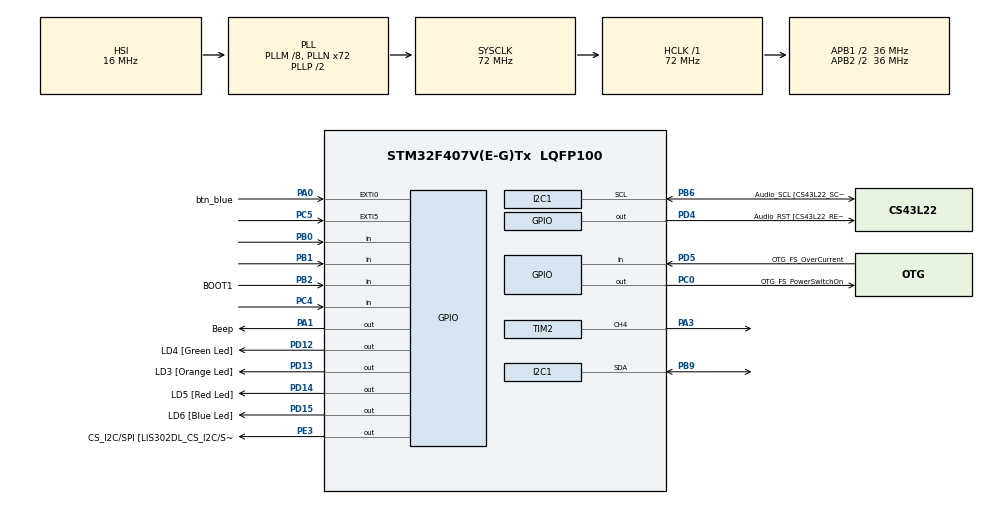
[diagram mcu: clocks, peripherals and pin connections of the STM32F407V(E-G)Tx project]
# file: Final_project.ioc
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Mcu.Family=STM32F4
Mcu.Name=STM32F407V(E-G)Tx
Mcu.Package=LQFP100
NVIC.EXTI9_5_IRQn=true\:0\:0\:false\:false\:true\:true\:true\:true
NVIC.PriorityGroup=NVIC_PRIORITYGROUP_4
NVIC.TIM7_IRQn=true\:15\:0\:false\:false\:true\:false\:true\:true
NVIC.TimeBase=TIM7_IRQn
NVIC.TimeBaseIP=TIM7
PA0-WKUP.GPIO_Label=btn_blue
PA0-WKUP.Signal=GPXTI0
PA1.GPIO_Label=Beep
PA1.PinState=GPIO_PIN_SET
PA1.Signal=GPIO_Output
PA10.GPIO_Label=OTG_FS_ID
PA10.GPIO_Mode=GPIO_MODE_AF_PP
PA10.GPIO_PuPd=GPIO_NOPULL
PA10.GPIO_Speed=GPIO_SPEED_FREQ_LOW
PA10.Signal=USB_OTG_FS_ID
PA11.GPIO_Label=OTG_FS_DM
PA11.GPIO_Mode=GPIO_MODE_AF_PP
PA11.GPIO_PuPd=GPIO_NOPULL
PA11.GPIO_Speed=GPIO_SPEED_FREQ_LOW
PA11.Signal=USB_OTG_FS_DM
PA12.GPIO_Label=OTG_FS_DP
PA12.GPIO_Mode=GPIO_MODE_AF_PP
PA12.GPIO_PuPd=GPIO_NOPULL
PA12.GPIO_Speed=GPIO_SPEED_FREQ_LOW
PA12.Signal=USB_OTG_FS_DP
PA13.GPIO_Label=SWDIO
PA13.Mode=Serial_Wire
PA13.Signal=SYS_JTMS-SWDIO
PA14.GPIO_Label=SWCLK
PA14.Mode=Serial_Wire
PA14.Signal=SYS_JTCK-SWCLK
PA3.Signal=S_TIM2_CH4
PA4.GPIO_Label=I2S3_WS [CS43L22_LRCK]
PA4.GPIO_Mode=GPIO_MODE_AF_PP
PA4.GPIO_PuPd=GPIO_NOPULL
PA4.GPIO_Speed=GPIO_SPEED_FREQ_LOW
PA4.Signal=I2S3_WS
PA5.GPIO_Label=SPI1_SCK [LIS302DL_SCL/SPC]
PA5.GPIO_Mode=GPIO_MODE_AF_PP
PA5.GPIO_PuPd=GPIO_NOPULL
PA5.GPIO_Speed=GPIO_SPEED_FREQ_LOW
PA5.Signal=SPI1_SCK
PA6.GPIO_Label=SPI1_MISO [LIS302DL_SDO]
PA6.GPIO_Mode=GPIO_MODE_AF_PP
PA6.GPIO_PuPd=GPIO_NOPULL
PA6.GPIO_Speed=GPIO_SPEED_FREQ_LOW
PA6.Signal=SPI1_MISO
PA7.GPIO_Label=SPI1_MOSI [LIS302DL_SDA/SDI/SDO]
PA7.GPIO_Mode=GPIO_MODE_AF_PP
PA7.GPIO_PuPd=GPIO_NOPULL
PA7.GPIO_Speed=GPIO_SPEED_FREQ_LOW
PA7.Signal=SPI1_MOSI
PA9.GPIO_Label=VBUS_FS
PA9.GPIO_Mode=GPIO_MODE_INPUT
PA9.GPIO_PuPd=GPIO_NOPULL
PA9.Signal=USB_OTG_FS_VBUS
PB0.Signal=GPIO_Input
PB1.Signal=GPIO_Input
PB10.GPIO_Label=CLK_IN [MP45DT02_CLK]
PB10.GPIO_Mode=GPIO_MODE_AF_PP
PB10.GPIO_PuPd=GPIO_NOPULL
PB10.GPIO_Speed=GPIO_SPEED_FREQ_LOW
PB10.Signal=I2S2_CK
PB2.GPIO_Label=BOOT1
PB2.GPIO_Mode=GPIO_MODE_INPUT
PB2.GPIO_PuPd=GPIO_NOPULL
PB2.Signal=GPIO_Input
PB3.GPIO_Label=SWO
PB3.Signal=SYS_JTDO-SWO
PB6.GPIO_Label=Audio_SCL [CS43L22_SCL]
PB6.GPIO_Mode=GPIO_MODE_AF_OD
PB6.GPIO_PuPd=GPIO_NOPULL
PB6.GPIO_Speed=GPIO_SPEED_FREQ_LOW
PB6.Mode=I2C
PB6.Signal=I2C1_SCL
PB9.Mode=I2C
PB9.Signal=I2C1_SDA
PC0.GPIO_Label=OTG_FS_PowerSwitchOn
PC0.GPIO_PuPd=GPIO_NOPULL
PC0.GPIO_Speed=GPIO_SPEED_FREQ_LOW
PC0.PinState=GPIO_PIN_SET
PC0.Signal=GPIO_Output
PC10.GPIO_Label=I2S3_SCK [CS43L22_SCLK]
PC10.GPIO_Mode=GPIO_MODE_AF_PP
PC10.GPIO_PuPd=GPIO_NOPULL
PC10.GPIO_Speed=GPIO_SPEED_FREQ_LOW
PC10.Signal=I2S3_CK
PC12.GPIO_Label=I2S3_SD [CS43L22_SDIN]
PC12.GPIO_Mode=GPIO_MODE_AF_PP
PC12.GPIO_PuPd=GPIO_NOPULL
PC12.GPIO_Speed=GPIO_SPEED_FREQ_LOW
PC12.Signal=I2S3_SD
PC14-OSC32_IN.GPIO_Label=PC14-OSC32_IN
PC14-OSC32_IN.Signal=RCC_OSC32_IN
PC15-OSC32_OUT.GPIO_Label=PC15-OSC32_OUT
PC15-OSC32_OUT.Signal=RCC_OSC32_OUT
PC3.GPIO_Label=PDM_OUT [MP45DT02_DOUT]
PC3.GPIO_Mode=GPIO_MODE_AF_PP
PC3.GPIO_PuPd=GPIO_NOPULL
PC3.GPIO_Speed=GPIO_SPEED_FREQ_LOW
PC3.Signal=I2S2_SD
PC4.Signal=GPIO_Input
PC5.Signal=GPXTI5
PC7.GPIO_Label=I2S3_MCK [CS43L22_MCLK]
PC7.GPIO_Mode=GPIO_MODE_AF_PP
PC7.GPIO_PuPd=GPIO_NOPULL
PC7.GPIO_Speed=GPIO_SPEED_FREQ_LOW
PC7.Signal=I2S3_MCK
PD12.GPIO_Label=LD4 [Green Led]
PD12.GPIO_PuPd=GPIO_NOPULL
PD12.GPIO_Speed=GPIO_SPEED_FREQ_LOW
PD12.Signal=GPIO_Output
PD13.GPIO_Label=LD3 [Orange Led]
PD13.GPIO_PuPd=GPIO_NOPULL
PD13.GPIO_Speed=GPIO_SPEED_FREQ_LOW
PD13.Signal=GPIO_Output
PD14.GPIO_Label=LD5 [Red Led]
PD14.GPIO_PuPd=GPIO_NOPULL
PD14.GPIO_Speed=GPIO_SPEED_FREQ_LOW
PD14.Signal=GPIO_Output
PD15.GPIO_Label=LD6 [Blue Led]
PD15.GPIO_PuPd=GPIO_NOPULL
PD15.GPIO_Speed=GPIO_SPEED_FREQ_LOW
PD15.Signal=GPIO_Output
PD4.GPIO_Label=Audio_RST [CS43L22_RESET]
PD4.GPIO_PuPd=GPIO_NOPULL
PD4.GPIO_Speed=GPIO_SPEED_FREQ_LOW
PD4.Signal=GPIO_Output
PD5.GPIO_Label=OTG_FS_OverCurrent
PD5.GPIO_Mode=GPIO_MODE_INPUT
PD5.GPIO_PuPd=GPIO_NOPULL
PD5.Signal=GPIO_Input
PE3.GPIO_Label=CS_I2C/SPI [LIS302DL_CS_I2C/SPI]
PE3.GPIO_PuPd=GPIO_NOPULL
PE3.GPIO_Speed=GPIO_SPEED_FREQ_LOW
PE3.Signal=GPIO_Output
PH0-OSC_IN.GPIO_Label=PH0-OSC_IN
PH0-OSC_IN.Mode=HSE-External-Oscillator
PH0-OSC_IN.Signal=RCC_OSC_IN
PH1-OSC_OUT.GPIO_Label=PH1-OSC_OUT
PH1-OSC_OUT.Mode=HSE-External-Oscillator
PH1-OSC_OUT.Signal=RCC_OSC_OUT
ProjectManager.HeapSize=0x200
ProjectManager.StackSize=0x400
ProjectManager.TargetToolchain=STM32CubeIDE
RCC.48MHZClocksFreq_Value=20571428.57142857
RCC.AHBFreq_Value=72000000
RCC.APB1CLKDivider=RCC_HCLK_DIV2
RCC.APB1Freq_Value=36000000
RCC.APB1TimFreq_Value=72000000
RCC.APB2CLKDivider=RCC_HCLK_DIV2
RCC.APB2Freq_Value=36000000
RCC.APB2TimFreq_Value=72000000
RCC.CortexFreq_Value=72000000
RCC.HCLKFreq_Value=72000000
RCC.HSE_VALUE=8000000
RCC.HSI_VALUE=16000000
RCC.LSE_VALUE=32768
RCC.PLLM=8
RCC.PLLN=72
RCC.PLLQ=7
RCC.SYSCLKFreq_VALUE=72000000
RCC.SYSCLKSource=RCC_SYSCLKSOURCE_PLLCLK
RCC.VCOOutputFreq_Value=144000000
SH.S_TIM2_CH4.0=TIM2_CH4,PWM Generation4 CH4
TIM2.AutoReloadPreload=TIM_AUTORELOAD_PRELOAD_ENABLE
TIM2.Channel-PWM\ Generation4\ CH4=TIM_CHANNEL_4
TIM2.Period=1999
TIM2.Prescaler=719
VP_SYS_VS_tim7.Mode=TIM7
board=STM32F407G-DISC1

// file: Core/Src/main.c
/* USER CODE BEGIN Header */
/**
  ******************************************************************************
  * @file           : main.c
  * @brief          : Main program body
  ******************************************************************************
  * @attention
  *
  * Copyright (c) 2024 STMicroelectronics.
  * All rights reserved.
  *
  * This software is licensed under terms that can be found in the LICENSE file
  * in the root directory of this software component.
  * If no LICENSE file comes with this software, it is provided AS-IS.
  *
  ******************************************************************************
  */
/* USER CODE END Header */
#include "main.h"

/* USER CODE BEGIN Includes */
//#include "FreeRTOSConfig.h"
#include "FreeRTOS.h"
#include "task.h"
#include "queue.h"
#include "dht11.h"
//#include "timers.h"
/* sss */
#include "i2c-lcd.h" // for LCD module
#include "string.h"
#include "stdio.h"
#include "stdlib.h"

/* sss */

/* USER CODE END Includes */

I2C_HandleTypeDef hi2c1;

TIM_HandleTypeDef htim2;

void SystemClock_Config(void);
static void MX_GPIO_Init(void);
static void MX_I2C1_Init(void);
static void MX_TIM2_Init(void);
/* USER CODE BEGIN PFP */
void InfraredTask(void *pvParameters);
void ButtonTask(void *pvParameters);
//
////void DHT11_Task(void *pvParameters);
////void DHT22_TASK(void *pvParameters);
void Display(void *pvParameters);
//

/* USER CODE END PFP */

/* USER CODE BEGIN 0 */
I2C_HandleTypeDef hi2c1;
TIM_HandleTypeDef htim2;

int32_t RunningLap = 0;
int32_t countingtime = 0;
uint8_t objectDetected = 0;
uint8_t touch = 0;
uint8_t eat = 0;
float TempC, Humidity;

volatile uint32_t timeCounter = 0;       //global timer
volatile uint32_t wait_timeCounter = 0;  //check eaten timer

#define FEEDING_INTERVAL_SECONDS 15
#define WAITING_INTERVAL_SECONDS 10

BaseType_t xReturned;
TaskHandle_t xTimerTaskHandle = NULL;
TaskHandle_t xHandle = NULL;
QueueHandle_t MsgQueue = NULL;

/* detect the roller counting for running lap*/
void InfraredTask(void *pvParameters)
{
    for (;;)
    {
		if (HAL_GPIO_ReadPin(GPIOC, GPIO_PIN_4) == GPIO_PIN_RESET) {
			if (objectDetected == 0) {
				objectDetected = 1;
				RunningLap++;
			}
		}
		else
			objectDetected = 0;
		vTaskDelay(10);
    }
}

void ButtonTask(void *pvParameters) {
	unsigned int task = 0;
	unsigned int count = 0;
	for(;;)
	{
		if(HAL_GPIO_ReadPin(btn_blue_GPIO_Port, GPIO_PIN_0))
		{
			HAL_Delay(100);//debounce
			while(HAL_GPIO_ReadPin(btn_blue_GPIO_Port, GPIO_PIN_0))
			{;}
			++count ;
			if(count & 0x01)
				task = 1;
			else
				task = 0;
			xQueueSend(MsgQueue,(int * ) &task,1);
			taskYIELD();
		}
	}
}

void Display(void *pvParameters)
{
	unsigned int displaymode = 0;
	for(;;)
	{
		char buffer[30];
		if  (displaymode == 0){
			for (;;) {
				lcd_clear();
				lcd_put_cur(0, 0);
				sprintf(buffer, "eat: %u    %lu",eat,timeCounter);
				lcd_send_string(buffer);

				lcd_put_cur(1, 0);
				memset(buffer, 0, sizeof(buffer));
				sprintf(buffer, "noneat time: %lu", wait_timeCounter);
				lcd_send_string(buffer);

				xQueueReceive(MsgQueue, &displaymode, 0);
				vTaskDelay(10);
				if(displaymode == 1) break;
			}
		}
		else if(displaymode == 1){
		    for (;;) {
				lcd_clear();
				lcd_put_cur(0, 0);
				sprintf(buffer, "RunningLap: %lu", RunningLap);
				lcd_send_string(buffer);

				xQueueReceive(MsgQueue, &displaymode, 0);
				vTaskDelay(500);
				if(displaymode == 0) break;
		    }
		}
	}
}
/* The buzzer sounds as a reminder */
void Beep(void){
	uint32_t From_begin_time = HAL_GetTick();
	HAL_GPIO_WritePin(GPIOA, Beep_Pin, GPIO_PIN_RESET);
	while(HAL_GetTick() - From_begin_time < 50 / portTICK_RATE_MS){}

	From_begin_time = HAL_GetTick();
	HAL_GPIO_WritePin(GPIOA, Beep_Pin, GPIO_PIN_SET);
	while(HAL_GetTick() - From_begin_time < 500 / portTICK_RATE_MS){}
}
/* Motor Task to deliver food regularly*/
void Motor_Task(void *pvParameters){
	for (;;){
		if (timeCounter % FEEDING_INTERVAL_SECONDS ==0){
			HAL_GPIO_WritePin(GPIOD, GPIO_PIN_12 | GPIO_PIN_13 | GPIO_PIN_14 | GPIO_PIN_15, GPIO_PIN_RESET);
			HAL_TIM_PWM_Start(&htim2, TIM_CHANNEL_4);

			uint32_t From_begin_time = HAL_GetTick();
			__HAL_TIM_SET_COMPARE(&htim2, TIM_CHANNEL_4, 150);
			while(HAL_GetTick() - From_begin_time < 500 / portTICK_RATE_MS){}

			From_begin_time = HAL_GetTick();
			__HAL_TIM_SET_COMPARE(&htim2, TIM_CHANNEL_4, 50);
			while(HAL_GetTick() - From_begin_time < 500 / portTICK_RATE_MS){}

			From_begin_time = HAL_GetTick();
			__HAL_TIM_SET_COMPARE(&htim2, TIM_CHANNEL_4, 150);
			while(HAL_GetTick() - From_begin_time < 500 / portTICK_RATE_MS){}
		}
	}
}

void BuzzerTask(void *pvParameters){
	for(;;){
		if(touch == 1){                                            // eat , reset the counter
			wait_timeCounter = 0;
			touch = 0;
			eat++;
		}
		else{
			if (wait_timeCounter > WAITING_INTERVAL_SECONDS){      // if not eat within the time we set
				Beep();
			}
		}
	}
}

void HAL_GPIO_EXTI_Callback(uint16_t GPIO_Pin) //  touch pressure sensor
{
	if (GPIO_Pin == GPIO_PIN_5)
	{
		HAL_GPIO_TogglePin(GPIOD, GPIO_PIN_12);  // yellow light
		touch = 1;                               // set torch to True(1)
		wait_timeCounter = 0;                    // reset wait_timeCounter
	}
}

void TimerTask(void *pvParameters)
{
    TickType_t xLastWakeTime;
    const TickType_t xFrequency = pdMS_TO_TICKS(1000); // 1 second as cycle

    // record currnet time
    xLastWakeTime = xTaskGetTickCount();
    for (;;)
    {
        // wait until next cycle
        vTaskDelayUntil(&xLastWakeTime, xFrequency);
        // update timer
        timeCounter++;
        wait_timeCounter++;
    }
}

/* USER CODE END 0 */

int main(void)
{

  /* MCU Configuration--------------------------------------------------------*/

  /* Reset of all peripherals, Initializes the Flash interface and the Systick. */
  HAL_Init();

  /* Configure the system clock */
  SystemClock_Config();

  /* Initialize all configured peripherals */
  MX_GPIO_Init();
  MX_I2C1_Init();
  MX_TIM2_Init();
  /* USER CODE BEGIN 2 */
  lcd_init();

  MsgQueue = xQueueCreate(1,sizeof(unsigned int));
  xTaskCreate(InfraredTask, "InfraredTask", 128, NULL, 1, NULL);   // detect running lap
  xTaskCreate(ButtonTask, "ButtonTask", 128, NULL, 1, NULL);       // switch lcd displaymode
  xTaskCreate(Display, "Display", 128, NULL, 1, NULL);             // show lcd content
  xTaskCreate(BuzzerTask, "BuzzerTask", 128, NULL, 1, NULL);       // sound beep to remind eating
  xTaskCreate(Motor_Task, "Motor_Task", 128, NULL, 1, NULL);       // check if have eaten
  xTaskCreate(TimerTask, "TimerTask", configMINIMAL_STACK_SIZE, NULL, 1, &xTimerTaskHandle);  // Timer

  vTaskStartScheduler();

  /* USER CODE END 2 */

  /* Infinite loop */
  while (1)
  {

  }
}

void SystemClock_Config(void)
{
  RCC_OscInitTypeDef RCC_OscInitStruct = {0};
  RCC_ClkInitTypeDef RCC_ClkInitStruct = {0};

  /** Configure the main internal regulator output voltage
  */
  __HAL_RCC_PWR_CLK_ENABLE();
  __HAL_PWR_VOLTAGESCALING_CONFIG(PWR_REGULATOR_VOLTAGE_SCALE1);

  /** Initializes the RCC Oscillators according to the specified parameters
  * in the RCC_OscInitTypeDef structure.
  */
  RCC_OscInitStruct.OscillatorType = RCC_OSCILLATORTYPE_HSI;
  RCC_OscInitStruct.HSIState = RCC_HSI_ON;
  RCC_OscInitStruct.HSICalibrationValue = RCC_HSICALIBRATION_DEFAULT;
  RCC_OscInitStruct.PLL.PLLState = RCC_PLL_ON;
  RCC_OscInitStruct.PLL.PLLSource = RCC_PLLSOURCE_HSI;
  RCC_OscInitStruct.PLL.PLLM = 8;
  RCC_OscInitStruct.PLL.PLLN = 72;
  RCC_OscInitStruct.PLL.PLLP = RCC_PLLP_DIV2;
  RCC_OscInitStruct.PLL.PLLQ = 7;
  if (HAL_RCC_OscConfig(&RCC_OscInitStruct) != HAL_OK)
  {
    Error_Handler();
  }

  /** Initializes the CPU, AHB and APB buses clocks
  */
  RCC_ClkInitStruct.ClockType = RCC_CLOCKTYPE_HCLK|RCC_CLOCKTYPE_SYSCLK
                              |RCC_CLOCKTYPE_PCLK1|RCC_CLOCKTYPE_PCLK2;
  RCC_ClkInitStruct.SYSCLKSource = RCC_SYSCLKSOURCE_PLLCLK;
  RCC_ClkInitStruct.AHBCLKDivider = RCC_SYSCLK_DIV1;
  RCC_ClkInitStruct.APB1CLKDivider = RCC_HCLK_DIV2;
  RCC_ClkInitStruct.APB2CLKDivider = RCC_HCLK_DIV2;

  if (HAL_RCC_ClockConfig(&RCC_ClkInitStruct, FLASH_LATENCY_2) != HAL_OK)
  {
    Error_Handler();
  }
}

static void MX_I2C1_Init(void)
{

  hi2c1.Instance = I2C1;
  hi2c1.Init.ClockSpeed = 100000;
  hi2c1.Init.DutyCycle = I2C_DUTYCYCLE_2;
  hi2c1.Init.OwnAddress1 = 0;
  hi2c1.Init.AddressingMode = I2C_ADDRESSINGMODE_7BIT;
  hi2c1.Init.DualAddressMode = I2C_DUALADDRESS_DISABLE;
  hi2c1.Init.OwnAddress2 = 0;
  hi2c1.Init.GeneralCallMode = I2C_GENERALCALL_DISABLE;
  hi2c1.Init.NoStretchMode = I2C_NOSTRETCH_DISABLE;
  if (HAL_I2C_Init(&hi2c1) != HAL_OK)
  {
    Error_Handler();
  }

}

static void MX_TIM2_Init(void)
{

  TIM_MasterConfigTypeDef sMasterConfig = {0};
  TIM_OC_InitTypeDef sConfigOC = {0};

  htim2.Instance = TIM2;
  htim2.Init.Prescaler = 719;
  htim2.Init.CounterMode = TIM_COUNTERMODE_UP;
  htim2.Init.Period = 1999;
  htim2.Init.ClockDivision = TIM_CLOCKDIVISION_DIV1;
  htim2.Init.AutoReloadPreload = TIM_AUTORELOAD_PRELOAD_ENABLE;
  if (HAL_TIM_PWM_Init(&htim2) != HAL_OK)
  {
    Error_Handler();
  }
  sMasterConfig.MasterOutputTrigger = TIM_TRGO_RESET;
  sMasterConfig.MasterSlaveMode = TIM_MASTERSLAVEMODE_DISABLE;
  if (HAL_TIMEx_MasterConfigSynchronization(&htim2, &sMasterConfig) != HAL_OK)
  {
    Error_Handler();
  }
  sConfigOC.OCMode = TIM_OCMODE_PWM1;
  sConfigOC.Pulse = 0;
  sConfigOC.OCPolarity = TIM_OCPOLARITY_HIGH;
  sConfigOC.OCFastMode = TIM_OCFAST_DISABLE;
  if (HAL_TIM_PWM_ConfigChannel(&htim2, &sConfigOC, TIM_CHANNEL_4) != HAL_OK)
  {
    Error_Handler();
  }
  HAL_TIM_MspPostInit(&htim2);

}

static void MX_GPIO_Init(void)
{
  GPIO_InitTypeDef GPIO_InitStruct = {0};

  /* GPIO Ports Clock Enable */
  __HAL_RCC_GPIOE_CLK_ENABLE();
  __HAL_RCC_GPIOC_CLK_ENABLE();
  __HAL_RCC_GPIOH_CLK_ENABLE();
  __HAL_RCC_GPIOA_CLK_ENABLE();
  __HAL_RCC_GPIOB_CLK_ENABLE();
  __HAL_RCC_GPIOD_CLK_ENABLE();

  /*Configure GPIO pin Output Level */
  HAL_GPIO_WritePin(CS_I2C_SPI_GPIO_Port, CS_I2C_SPI_Pin, GPIO_PIN_RESET);

  /*Configure GPIO pin Output Level */
  HAL_GPIO_WritePin(OTG_FS_PowerSwitchOn_GPIO_Port, OTG_FS_PowerSwitchOn_Pin, GPIO_PIN_SET);

  /*Configure GPIO pin Output Level */
  HAL_GPIO_WritePin(Beep_GPIO_Port, Beep_Pin, GPIO_PIN_SET);

  /*Configure GPIO pin Output Level */
  HAL_GPIO_WritePin(GPIOD, LD4_Pin|LD3_Pin|LD5_Pin|LD6_Pin
                          |Audio_RST_Pin, GPIO_PIN_RESET);

  /*Configure GPIO pin : CS_I2C_SPI_Pin */
  GPIO_InitStruct.Pin = CS_I2C_SPI_Pin;
  GPIO_InitStruct.Mode = GPIO_MODE_OUTPUT_PP;
  GPIO_InitStruct.Pull = GPIO_NOPULL;
  GPIO_InitStruct.Speed = GPIO_SPEED_FREQ_LOW;
  HAL_GPIO_Init(CS_I2C_SPI_GPIO_Port, &GPIO_InitStruct);

  /*Configure GPIO pin : OTG_FS_PowerSwitchOn_Pin */
  GPIO_InitStruct.Pin = OTG_FS_PowerSwitchOn_Pin;
  GPIO_InitStruct.Mode = GPIO_MODE_OUTPUT_PP;
  GPIO_InitStruct.Pull = GPIO_NOPULL;
  GPIO_InitStruct.Speed = GPIO_SPEED_FREQ_LOW;
  HAL_GPIO_Init(OTG_FS_PowerSwitchOn_GPIO_Port, &GPIO_InitStruct);

  /*Configure GPIO pin : PDM_OUT_Pin */
  GPIO_InitStruct.Pin = PDM_OUT_Pin;
  GPIO_InitStruct.Mode = GPIO_MODE_AF_PP;
  GPIO_InitStruct.Pull = GPIO_NOPULL;
  GPIO_InitStruct.Speed = GPIO_SPEED_FREQ_LOW;
  GPIO_InitStruct.Alternate = GPIO_AF5_SPI2;
  HAL_GPIO_Init(PDM_OUT_GPIO_Port, &GPIO_InitStruct);

  /*Configure GPIO pin : btn_blue_Pin */
  GPIO_InitStruct.Pin = btn_blue_Pin;
  GPIO_InitStruct.Mode = GPIO_MODE_IT_RISING;
  GPIO_InitStruct.Pull = GPIO_NOPULL;
  HAL_GPIO_Init(btn_blue_GPIO_Port, &GPIO_InitStruct);

  /*Configure GPIO pin : Beep_Pin */
  GPIO_InitStruct.Pin = Beep_Pin;
  GPIO_InitStruct.Mode = GPIO_MODE_OUTPUT_PP;
  GPIO_InitStruct.Pull = GPIO_NOPULL;
  GPIO_InitStruct.Speed = GPIO_SPEED_FREQ_LOW;
  HAL_GPIO_Init(Beep_GPIO_Port, &GPIO_InitStruct);

  /*Configure GPIO pin : I2S3_WS_Pin */
  GPIO_InitStruct.Pin = I2S3_WS_Pin;
  GPIO_InitStruct.Mode = GPIO_MODE_AF_PP;
  GPIO_InitStruct.Pull = GPIO_NOPULL;
  GPIO_InitStruct.Speed = GPIO_SPEED_FREQ_LOW;
  GPIO_InitStruct.Alternate = GPIO_AF6_SPI3;
  HAL_GPIO_Init(I2S3_WS_GPIO_Port, &GPIO_InitStruct);

  /*Configure GPIO pins : SPI1_SCK_Pin SPI1_MISO_Pin SPI1_MOSI_Pin */
  GPIO_InitStruct.Pin = SPI1_SCK_Pin|SPI1_MISO_Pin|SPI1_MOSI_Pin;
  GPIO_InitStruct.Mode = GPIO_MODE_AF_PP;
  GPIO_InitStruct.Pull = GPIO_NOPULL;
  GPIO_InitStruct.Speed = GPIO_SPEED_FREQ_LOW;
  GPIO_InitStruct.Alternate = GPIO_AF5_SPI1;
  HAL_GPIO_Init(GPIOA, &GPIO_InitStruct);

  /*Configure GPIO pin : PC4 */
  GPIO_InitStruct.Pin = GPIO_PIN_4;
  GPIO_InitStruct.Mode = GPIO_MODE_INPUT;
  GPIO_InitStruct.Pull = GPIO_NOPULL;
  HAL_GPIO_Init(GPIOC, &GPIO_InitStruct);

  /*Configure GPIO pin : PC5 */
  GPIO_InitStruct.Pin = GPIO_PIN_5;
  GPIO_InitStruct.Mode = GPIO_MODE_IT_RISING;
  GPIO_InitStruct.Pull = GPIO_NOPULL;
  HAL_GPIO_Init(GPIOC, &GPIO_InitStruct);

  /*Configure GPIO pins : PB0 PB1 BOOT1_Pin */
  GPIO_InitStruct.Pin = GPIO_PIN_0|GPIO_PIN_1|BOOT1_Pin;
  GPIO_InitStruct.Mode = GPIO_MODE_INPUT;
  GPIO_InitStruct.Pull = GPIO_NOPULL;
  HAL_GPIO_Init(GPIOB, &GPIO_InitStruct);

  /*Configure GPIO pin : CLK_IN_Pin */
  GPIO_InitStruct.Pin = CLK_IN_Pin;
  GPIO_InitStruct.Mode = GPIO_MODE_AF_PP;
  GPIO_InitStruct.Pull = GPIO_NOPULL;
  GPIO_InitStruct.Speed = GPIO_SPEED_FREQ_LOW;
  GPIO_InitStruct.Alternate = GPIO_AF5_SPI2;
  HAL_GPIO_Init(CLK_IN_GPIO_Port, &GPIO_InitStruct);

  /*Configure GPIO pins : LD4_Pin LD3_Pin LD5_Pin LD6_Pin
                           Audio_RST_Pin */
  GPIO_InitStruct.Pin = LD4_Pin|LD3_Pin|LD5_Pin|LD6_Pin
                          |Audio_RST_Pin;
  GPIO_InitStruct.Mode = GPIO_MODE_OUTPUT_PP;
  GPIO_InitStruct.Pull = GPIO_NOPULL;
  GPIO_InitStruct.Speed = GPIO_SPEED_FREQ_LOW;
  HAL_GPIO_Init(GPIOD, &GPIO_InitStruct);

  /*Configure GPIO pins : I2S3_MCK_Pin I2S3_SCK_Pin I2S3_SD_Pin */
  GPIO_InitStruct.Pin = I2S3_MCK_Pin|I2S3_SCK_Pin|I2S3_SD_Pin;
  GPIO_InitStruct.Mode = GPIO_MODE_AF_PP;
  GPIO_InitStruct.Pull = GPIO_NOPULL;
  GPIO_InitStruct.Speed = GPIO_SPEED_FREQ_LOW;
  GPIO_InitStruct.Alternate = GPIO_AF6_SPI3;
  HAL_GPIO_Init(GPIOC, &GPIO_InitStruct);

  /*Configure GPIO pin : VBUS_FS_Pin */
  GPIO_InitStruct.Pin = VBUS_FS_Pin;
  GPIO_InitStruct.Mode = GPIO_MODE_INPUT;
  GPIO_InitStruct.Pull = GPIO_NOPULL;
  HAL_GPIO_Init(VBUS_FS_GPIO_Port, &GPIO_InitStruct);

  /*Configure GPIO pins : OTG_FS_ID_Pin OTG_FS_DM_Pin OTG_FS_DP_Pin */
  GPIO_InitStruct.Pin = OTG_FS_ID_Pin|OTG_FS_DM_Pin|OTG_FS_DP_Pin;
  GPIO_InitStruct.Mode = GPIO_MODE_AF_PP;
  GPIO_InitStruct.Pull = GPIO_NOPULL;
  GPIO_InitStruct.Speed = GPIO_SPEED_FREQ_LOW;
  GPIO_InitStruct.Alternate = GPIO_AF10_OTG_FS;
  HAL_GPIO_Init(GPIOA, &GPIO_InitStruct);

  /*Configure GPIO pin : OTG_FS_OverCurrent_Pin */
  GPIO_InitStruct.Pin = OTG_FS_OverCurrent_Pin;
  GPIO_InitStruct.Mode = GPIO_MODE_INPUT;
  GPIO_InitStruct.Pull = GPIO_NOPULL;
  HAL_GPIO_Init(OTG_FS_OverCurrent_GPIO_Port, &GPIO_InitStruct);

  /* EXTI interrupt init*/
  HAL_NVIC_SetPriority(EXTI9_5_IRQn, 0, 0);
  HAL_NVIC_EnableIRQ(EXTI9_5_IRQn);

}

void HAL_TIM_PeriodElapsedCallback(TIM_HandleTypeDef *htim)
{
  if (htim->Instance == TIM7) {
    HAL_IncTick();
  }
}

void Error_Handler(void)
{
  __disable_irq();
  while (1)
  {
  }
}
